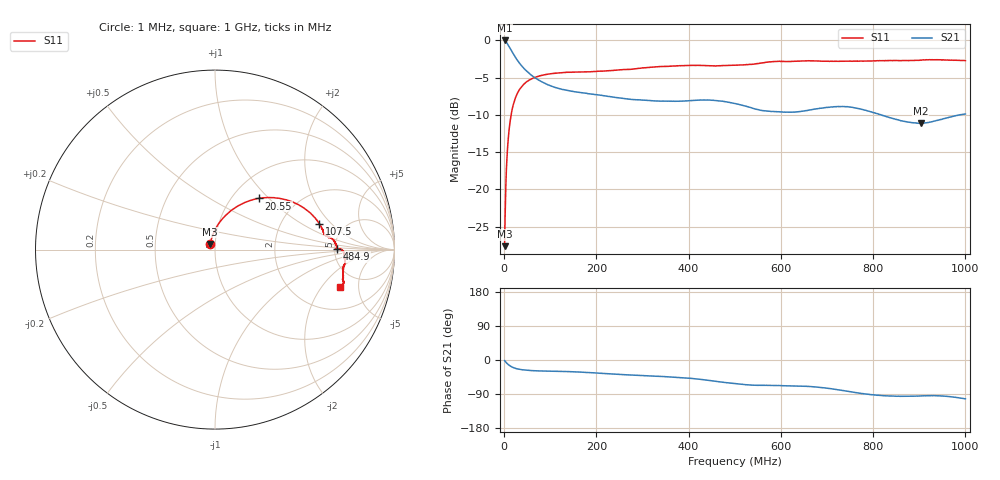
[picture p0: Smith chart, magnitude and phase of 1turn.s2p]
# HZ S RI R 50
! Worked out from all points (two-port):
!   1023 points, 1 MHz to 1 GHz, reference 50 ohm
!   highest |S21| = -0.03 dB at 1 MHz (marker M1); lowest = -11.2 dB at 903.2 MHz (marker M2)
!   |S21| within 3 dB of the highest: start of sweep to 32.67 MHz
!   lowest |S11| = -27.6 dB at 1 MHz (marker M3), VSWR 1.09, Z = 47.3 + j2.97 ohm
!   |S11| at or under -10 dB: start of sweep to 15.14 MHz
!   S12 and S22 are empty: the file has one direction only
!   S11 on the Smith chart (normalised r, x): 1 MHz: 0.95, +0.06; 20.55 MHz: 1.32, +0.88; 107.5 MHz: 3.28, +1.46; 484.9 MHz: 5.22, +0.09; 1 GHz: 3.46, -3.11
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1000000  -0.0273 0.0314  0.9962 -0.029  0 0  0 0
3932485  0.00172 0.1124  0.9713 -0.1036  0 0  0 0
6864970  0.0435 0.1739  0.9348 -0.1616  0 0  0 0
9797455  0.0889 0.2172  0.8941 -0.2037  0 0  0 0
1.468493e7  0.1663 0.2625  0.826 -0.2518  0 0  0 0
2.05499e7  0.2452 0.2852  0.7542 -0.2805  0 0  0 0
3.521232e7  0.3851 0.2799  0.625 -0.2922  0 0  0 0
5.280724e7  0.478 0.242  0.5369 -0.2782  0 0  0 0
7.528962e7  0.5409 0.1938  0.4724 -0.2596  0 0  0 0
1.07547e8  0.5817 0.1424  0.4217 -0.2406  0 0  0 0
1.681516e8  0.6063 0.0917  0.3767 -0.2363  0 0  0 0
3.343258e8  0.6624 0.0508  0.2859 -0.2668  0 0  0 0
4.213228e8  0.6784 0.0107  0.2522 -0.3059  0 0  0 0
4.8486e8  0.6785 0.00489  0.1908 -0.3335  0 0  0 0
5.004999e8  0.68 0.00409  0.1746 -0.3329  0 0  0 0
5.747896e8  0.7152 -0.0115  0.1307 -0.3078  0 0  0 0
6.676516e8  0.7236 -0.0761  0.1158 -0.3224  0 0  0 0
7.458512e8  0.7148 -0.1143  0.0447 -0.355  0 0  0 0
8.338257e8  0.715 -0.1543  -0.0259 -0.3034  0 0  0 0
9.032279e8  0.7144 -0.1753  -0.0228 -0.276  0 0  0 0
9.540576e8  0.7111 -0.1937  -0.0275 -0.297  0 0  0 0
9.999999e8  0.6984 -0.2107  -0.0691 -0.3125  0 0  0 0
